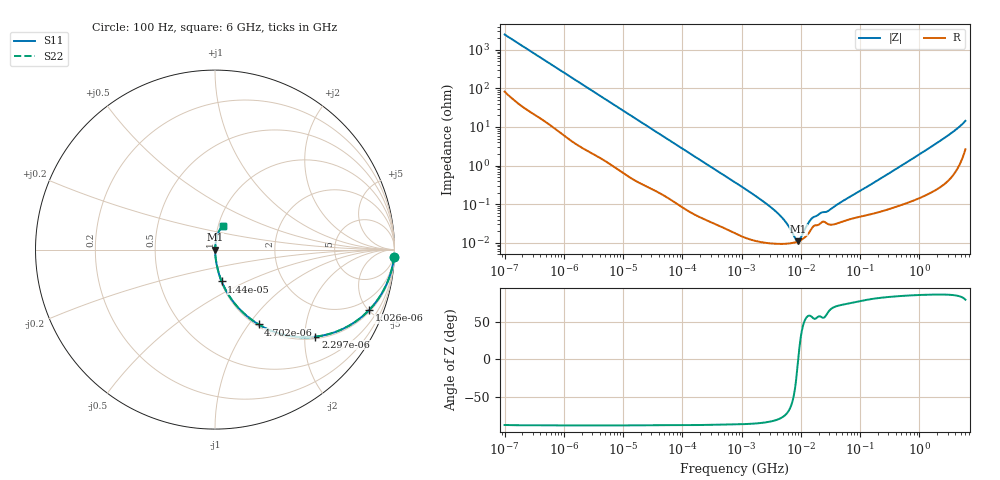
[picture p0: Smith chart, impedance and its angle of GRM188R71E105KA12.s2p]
!Murata Part Number: GRM188R71E105KA12
!These Parameters are Measured in Series Mode Connection
!Data Generated on Mar 30, 2021
!  o--ll--o
!Port1  Port2
!  o------o
!Operation Temp=25[degC], DC Bias Voltage=0[V]
!Freq. Start=100[Hz] Stop=6[GHz] 401[Steps]
# Hz S RI R 50
!Freq.(Hz) S11(Real) S11(Imag) S21(Real) S21(Imag) S12(Real) S12(Imag) S22(Real) S22(Imag)
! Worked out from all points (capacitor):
!   401 points, 100 Hz to 6 GHz, reference 50 ohm
!   read as one part in series: C = 637 nF near 109 Hz
!   lowest |Z| = 11 mohm at 9.09 MHz (marker M1)
!   series resonance near 9.049 MHz, so ESL is about 490 pH
!   S11 on the Smith chart (normalised r, x): 100 Hz: 3, -50; 1.026 kHz: 1.12, -5.01; 2.297 kHz: 1.05, -2.26; 4.702 kHz: 1.03, -1.12; 14.4 kHz: 1.01, -0.37; 6 GHz: 1.05, +0.28
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100  0.9971 -0.04  0.00293 0.04  0.00293 0.04  0.9971 -0.04
350  0.9777 -0.135  0.0223 0.135  0.0223 0.135  0.9777 -0.135
1026  0.857 -0.3387  0.143 0.3387  0.143 0.3387  0.857 -0.3387
2008  0.6221 -0.4737  0.3779 0.4737  0.3779 0.4737  0.6221 -0.4737
2297  0.5595 -0.4852  0.4405 0.4852  0.4405 0.4852  0.5595 -0.4852
4702  0.243 -0.4167  0.757 0.4167  0.757 0.4167  0.243 -0.4167
7695  0.1117 -0.303  0.8883 0.303  0.8883 0.303  0.1117 -0.303
14402  0.0372 -0.1776  0.9628 0.1776  0.9628 0.1776  0.0372 -0.1776
40335  0.00645 -0.0667  0.9936 0.0667  0.9936 0.0667  0.00645 -0.0667
774597  0.000189 -0.00368  0.9998 0.00368  0.9998 0.00368  0.000189 -0.00368
2169299  0.000105 -0.00127  0.9999 0.00127  0.9999 0.00127  0.000105 -0.00127
3882480  9.42e-05 -0.000618  0.9999 0.000618  0.9999 0.000618  9.42e-05 -0.000618
5809218  9.45e-05 -0.0003  0.9999 0.0003  0.9999 0.0003  9.45e-05 -0.0003
8311524  0.000104 -5.66e-05  0.9999 5.66e-05  0.9999 5.66e-05  0.000104 -5.66e-05
9090158  0.00011 3.1e-06  0.9999 -3.1e-06  0.9999 -3.1e-06  0.00011 3.1e-06
9941735  0.000117 6.34e-05  0.9999 -6.34e-05  0.9999 -6.34e-05  0.000117 6.34e-05
1.360128e7  0.000178 0.000286  0.9998 -0.000286  0.9998 -0.000286  0.000178 0.000286
1.555665e7  0.000244 0.000363  0.9998 -0.000363  0.9998 -0.000363  0.000244 0.000363
2.911731e7  0.000302 0.000598  0.9997 -0.000598  0.9997 -0.000598  0.000302 0.000598
3.124326e8  0.000788 0.00631  0.9992 -0.00631  0.9992 -0.00631  0.000788 0.00631
2.34314e9  0.00489 0.045  0.9951 -0.045  0.9951 -0.045  0.00489 0.045
6e9  0.0437 0.1318  0.9563 -0.1318  0.9563 -0.1318  0.0437 0.1318
